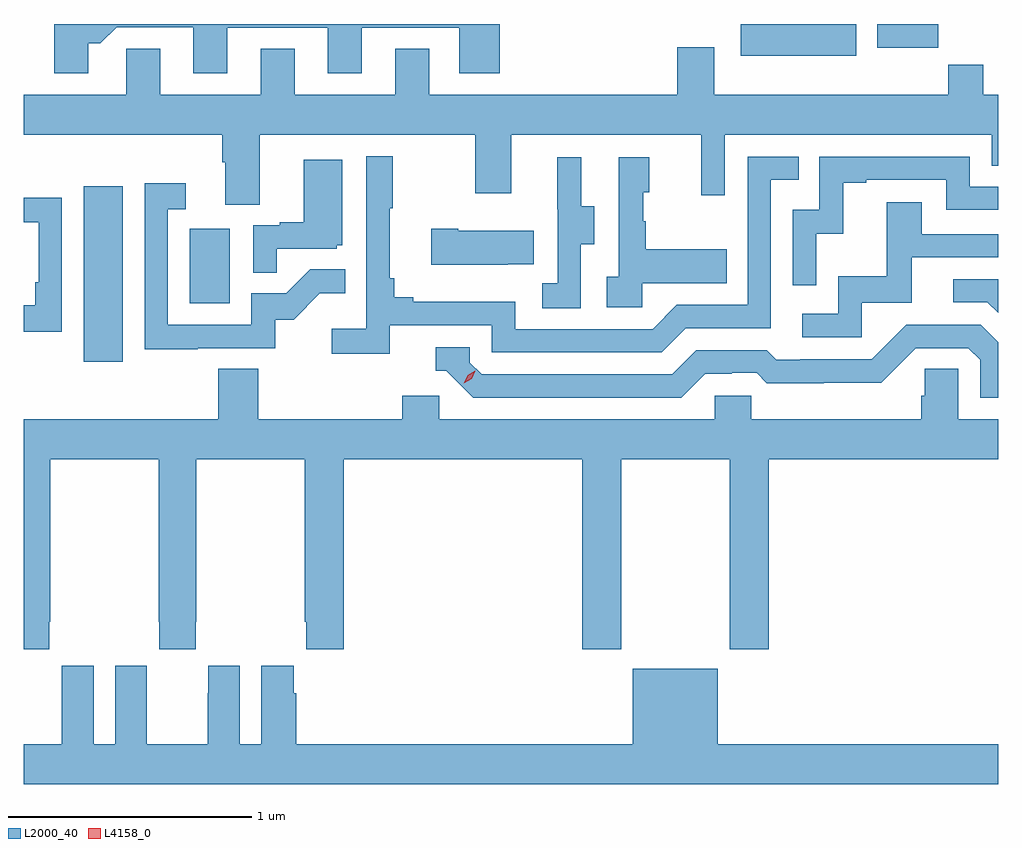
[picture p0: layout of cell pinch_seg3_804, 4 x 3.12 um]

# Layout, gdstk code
import gdstk
lib = gdstk.Library(unit=1e-6, precision=1e-09)
def R(c, l, rs):  # rectangles x0, y0, x1, y1
    for r in rs: c.add(gdstk.rectangle(r[:2], r[2:], *l))
def P(c, l, *ps):  # polygons
    for p in ps: c.add(gdstk.Polygon(p, *l))
L2000_40 = (2000, 40)
L4158_0 = (4158, 0)

pinch_seg3_804 = lib.new_cell('pinch_seg3_804')
R(pinch_seg3_804, L2000_40, [(868.403,709.308,868.564,710.029), (868.838,709.548,869.002,709.855), (871.1,710.564,871.573,710.695), (871.661,710.598,871.91,710.695)])
P(pinch_seg3_804, L2000_40, [(868.423,710.615),(868.472,710.615),(868.539,710.682),(868.853,710.682),(868.853,710.493),(868.993,710.493),(868.993,710.679),(869.405,710.679),(869.405,710.493),(869.545,710.493),(869.545,710.679),(869.945,710.679),(869.945,710.493),(870.11,710.493),(870.11,710.695),(868.283,710.695),(868.283,710.493),(868.423,710.493)],
  [(869.125,710.24),(870.01,710.24),(870.01,710.001),(870.157,710.001),(870.157,710.24),(870.938,710.24),(870.938,709.992),(871.035,709.992),(871.035,710.24),(872.13,710.24),(872.13,710.113),(872.157,710.113),(872.157,710.404),(872.095,710.404),(872.095,710.528),(871.951,710.528),(871.951,710.404),(870.991,710.404),(870.991,710.599),(870.839,710.599),(870.839,710.404),(869.821,710.404),(869.821,710.594),(869.681,710.594),(869.681,710.404),(869.269,710.404),(869.269,710.594),(869.129,710.594),(869.129,710.404),(868.717,710.404),(868.717,710.594),(868.578,710.594),(868.578,710.404),(868.157,710.404),(868.157,710.24),(868.973,710.24),(868.973,710.128),(868.985,710.128),(868.985,709.954),(869.125,709.954)],
  [(869.66,709.458),(870.078,709.458),(870.078,709.347),(870.775,709.347),(870.874,709.446),(871.224,709.446),(871.224,710.055),(871.337,710.055),(871.337,710.151),(871.128,710.151),(871.128,709.542),(870.837,709.542),(870.738,709.443),(870.174,709.443),(870.174,709.555),(869.755,709.555),(869.755,709.574),(869.678,709.574),(869.678,709.651),(869.659,709.651),(869.659,709.939),(869.671,709.939),(869.671,710.152),(869.562,710.152),(869.562,709.444),(869.421,709.444),(869.421,709.342),(869.66,709.342)],
  [(871.41,709.835),(871.52,709.835),(871.52,710.043),(871.615,710.043),(871.615,710.055),(871.944,710.055),(871.944,709.932),(872.157,709.932),(872.157,710.028),(872.04,710.028),(872.04,710.151),(871.422,710.151),(871.422,709.932),(871.314,709.932),(871.314,709.623),(871.41,709.623)],
  [(870.444,709.792),(870.499,709.792),(870.499,709.947),(870.445,709.947),(870.445,710.149),(870.347,710.149),(870.347,709.935),(870.348,709.935),(870.348,709.631),(870.285,709.631),(870.285,709.528),(870.444,709.528)],
  [(870.696,709.631),(871.043,709.631),(871.043,709.771),(870.709,709.771),(870.709,709.886),(870.699,709.886),(870.699,710.004),(870.724,710.004),(870.724,710.149),(870.6,710.149),(870.6,709.658),(870.549,709.658),(870.549,709.533),(870.696,709.533)],
  [(869.195,709.773),(869.442,709.773),(869.442,709.788),(869.464,709.788),(869.464,710.137),(869.306,710.137),(869.306,709.882),(869.207,709.882),(869.207,709.869),(869.1,709.869),(869.1,709.675),(869.195,709.675)],
  [(868.871,709.365),(869.19,709.365),(869.19,709.482),(869.266,709.482),(869.373,709.589),(869.477,709.589),(869.477,709.688),(869.333,709.688),(869.235,709.59),(869.091,709.59),(869.091,709.461),(868.749,709.461),(868.749,709.935),(868.822,709.935),(868.822,710.041),(868.653,710.041),(868.653,709.36),(868.871,709.36)],
  [(868.314,709.982),(868.157,709.982),(868.157,709.881),(868.218,709.881),(868.218,709.636),(868.205,709.636),(868.205,709.54),(868.157,709.54),(868.157,709.431),(868.314,709.431)],
  [(871.596,709.551),(871.801,709.551),(871.801,709.737),(872.157,709.737),(872.157,709.833),(871.843,709.833),(871.843,709.963),(871.699,709.963),(871.699,709.66),(871.5,709.66),(871.5,709.506),(871.353,709.506),(871.353,709.41),(871.596,709.41)],
  [(870.143,709.709),(870.251,709.709),(870.251,709.846),(869.941,709.846),(869.941,709.854),(869.829,709.854),(869.829,709.706),(870.143,709.706)],
  [(872.157,709.647),(871.971,709.647),(871.971,709.554),(872.112,709.554),(872.157,709.509)],
  [(870.955,709.26),(871.062,709.26),(871.062,709.263),(871.165,709.263),(871.207,709.221),(871.44,709.221),(871.44,709.223),(871.676,709.223),(871.818,709.365),(872.034,709.365),(872.082,709.317),(872.082,709.161),(872.157,709.161),(872.157,709.389),(872.085,709.461),(871.779,709.461),(871.638,709.32),(871.345,709.32),(871.345,709.317),(871.246,709.317),(871.207,709.356),(870.918,709.356),(870.819,709.257),(870.036,709.257),(869.988,709.305),(869.988,709.368),(869.849,709.368),(869.849,709.272),(869.892,709.272),(870.003,709.161),(870.856,709.161)],
  [(868.263,708.241),(868.266,708.241),(868.266,708.908),(868.711,708.908),(868.711,708.241),(868.713,708.241),(868.713,708.129),(868.863,708.129),(868.863,708.241),(868.866,708.241),(868.866,708.908),(869.311,708.908),(869.311,708.241),(869.317,708.241),(869.317,708.129),(869.471,708.129),(869.471,708.908),(870.449,708.908),(870.449,708.129),(870.609,708.129),(870.609,708.908),(871.054,708.908),(871.054,708.129),(871.214,708.129),(871.214,708.908),(872.157,708.908),(872.157,709.072),(871.992,709.072),(871.992,709.28),(871.855,709.28),(871.855,709.17),(871.841,709.17),(871.841,709.072),(871.143,709.072),(871.143,709.17),(870.993,709.17),(870.993,709.072),(869.862,709.072),(869.862,709.17),(869.711,709.17),(869.711,709.072),(869.12,709.072),(869.12,709.28),(868.955,709.28),(868.955,709.072),(868.157,709.072),(868.157,708.129),(868.263,708.129)],
  [(872.157,707.74),(871.006,707.74),(871.006,708.049),(870.656,708.049),(870.656,707.74),(869.276,707.74),(869.276,707.948),(869.266,707.948),(869.266,708.061),(869.132,708.061),(869.132,707.74),(869.044,707.74),(869.044,708.061),(868.914,708.061),(868.914,707.948),(868.913,707.948),(868.913,707.74),(868.663,707.74),(868.663,707.948),(868.662,707.948),(868.662,708.061),(868.532,708.061),(868.532,707.74),(868.444,707.74),(868.444,708.061),(868.314,708.061),(868.314,707.948),(868.313,707.948),(868.313,707.74),(868.157,707.74),(868.157,707.576),(872.157,707.576)])
P(pinch_seg3_804, L4158_0, [(869.963,709.22),(869.963,709.22),(869.98,709.253),(870.011,709.272),(870.011,709.272),(870.011,709.272),(869.995,709.239),(869.964,709.22)])

lib.write_gds('pinch_seg3_804.gds')
